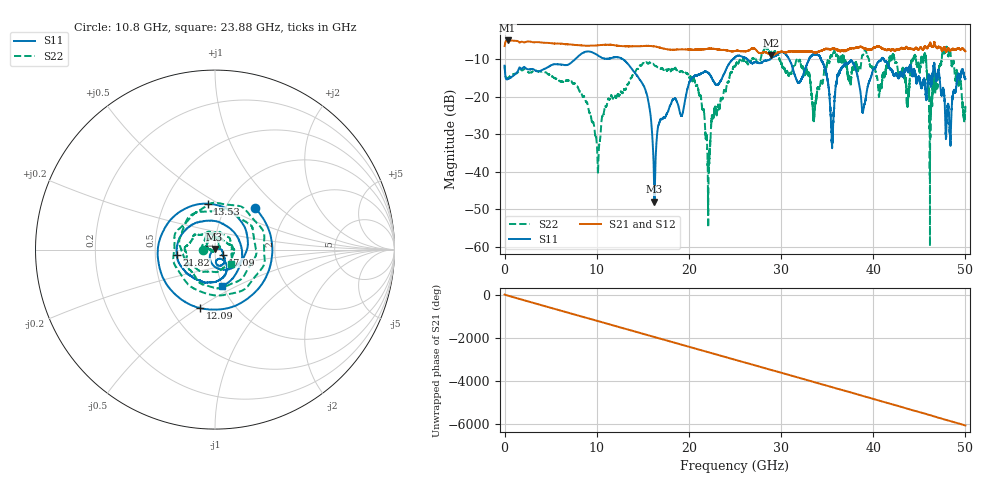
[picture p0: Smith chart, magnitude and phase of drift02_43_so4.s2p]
!Created with skrf (http://scikit-rf.org).
# Hz S RI R 50.0
!freq ReS11 ImS11 ReS21 ImS21 ReS12 ImS12 ReS22 ImS22
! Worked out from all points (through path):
!   10001 points, 300 kHz to 50 GHz, reference 50 ohm
!   highest |S21| = -5.04 dB at 325.3 MHz (marker M1); lowest = -8.9 dB at 28.96 GHz (marker M2)
!   group delay of S21, straight-line fit = 336 ps
!   lowest |S11| = -47.9 dB at 16.25 GHz (marker M3), VSWR 1.01, Z = 49.8 + j0.319 ohm
!   |S11| at or under -10 dB: start of sweep to 7.666 GHz; 12.82 GHz to 24.77 GHz (11.95 GHz wide, 63.6 % of centre); 41.12 GHz to end of sweep (the widest 3 of 11)
!   |S22| runs from -59.8 to -6.7 dB; largest |S21 - S12| = 0.03
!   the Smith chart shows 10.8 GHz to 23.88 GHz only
!   S11 on the Smith chart (normalised r, x): 10.8 GHz: 1.35, +0.70; 12.09 GHz: 0.69, -0.51; 13.53 GHz: 0.81, +0.45; 17.09 GHz: 1.09, -0.06; 21.82 GHz: 0.65, -0.04; 23.88 GHz: 1.00, -0.42
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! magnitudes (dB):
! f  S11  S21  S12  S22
! 300 kHz  -11.8  -6.5  -6.5  -11.7
! 325.3 MHz  -15.4  -5.0  -5.0  -15.1
! 8.335 GHz  -8.6  -6.4  -6.4  -19.1
! 10.11 GHz  -9.0  -6.3  -6.3  -38.8
! 10.8 GHz  -9.9  -6.2  -6.2  -23.8
! 12.09 GHz  -9.5  -6.4  -6.4  -20.4
! 13.53 GHz  -11.7  -6.6  -6.6  -16.1
! 16.25 GHz  -47.9  -6.6  -6.6  -11.7
! 16.67 GHz  -27.7  -6.8  -6.8  -12.2
! 17.09 GHz  -26.0  -7.1  -7.1  -12.4
! 21.82 GHz  -13.3  -7.4  -7.4  -30.2
! 23.88 GHz  -13.7  -7.6  -7.6  -18.3
! 25 GHz  -9.5  -7.8  -7.8  -12.0
! 28.96 GHz  -9.8  -8.9  -8.9  -8.0
! 33.34 GHz  -9.1  -8.0  -8.0  -20.0
! 35.55 GHz  -30.2  -7.2  -7.2  -9.1
! 36.79 GHz  -11.8  -7.9  -8.1  -9.1
! 41.67 GHz  -11.9  -7.4  -7.5  -11.8
! 45.5 GHz  -15.4  -7.0  -6.9  -9.6
! 46.25 GHz  -17.4  -6.1  -6.1  -22.2
! 48.12 GHz  -21.9  -7.2  -7.1  -9.0
! 50 GHz  -15.3  -7.9  -7.9  -23.1
